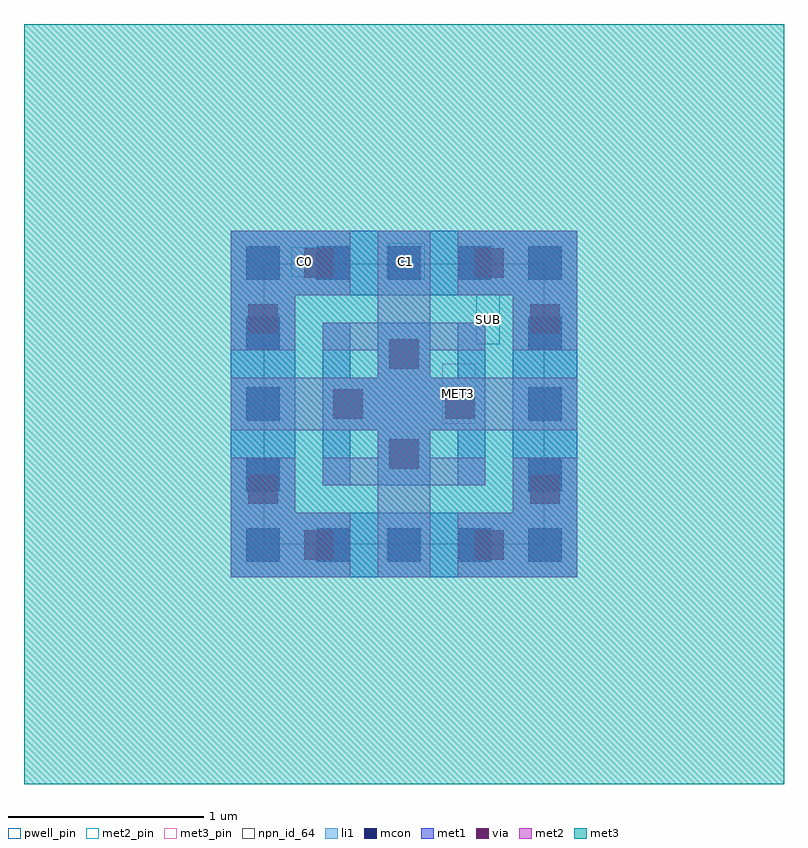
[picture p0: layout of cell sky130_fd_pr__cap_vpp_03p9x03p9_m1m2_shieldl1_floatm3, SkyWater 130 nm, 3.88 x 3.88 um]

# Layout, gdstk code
import gdstk
lib = gdstk.Library(unit=1e-6, precision=1e-09)
def R(c, l, rs):  # rectangles x0, y0, x1, y1
    for r in rs: c.add(gdstk.rectangle(r[:2], r[2:], *l))
def A(c, l, x, y, w, h, nx, ny, dx, dy):  # array of equal rectangles
    R(c, l, [(x+i*dx, y+j*dy, x+i*dx+w, y+j*dy+h) for i in range(nx) for j in range(ny)])
def P(c, l, *ps):  # polygons
    for p in ps: c.add(gdstk.Polygon(p, *l))
li1 = (67, 20)
mcon = (67, 44)
met1 = (68, 20)
via = (68, 44)
met2_pin = (69, 16)
met2 = (69, 20)
met3_pin = (70, 16)
met3 = (70, 20)
npn_id_64 = (82, 64)
pwell_pin = (122, 16)

sky130_fd_pr__cap_vpp_03 = lib.new_cell('sky130_fd_pr__cap_vpp_03p9x03p9_m1m2_shieldl1_floatm3')
R(sky130_fd_pr__cap_vpp_03, li1, [(0,0,1.77,1.77)])
A(sky130_fd_pr__cap_vpp_03, mcon, 0.08, 0.08, 0.17, 0.17, 5, 2, 0.36, 1.44)
R(sky130_fd_pr__cap_vpp_03, mcon, [(0.08,0.44,0.25,0.61), (1.52,0.44,1.69,0.61), (0.08,0.8,0.25,0.97), (0.08,0.8,0.25,0.97), (1.52,0.8,1.69,0.97), (1.52,0.8,1.69,0.97), (0.08,1.16,0.25,1.33), (0.08,1.16,0.25,1.33), (0.08,1.16,0.25,1.33), (1.52,1.16,1.69,1.33), (1.52,1.16,1.69,1.33), (1.52,1.16,1.69,1.33)])
R(sky130_fd_pr__cap_vpp_03, met1, [(0,0,1.77,0.33), (0,0.33,0.33,1.77), (1.44,0.33,1.77,1.77), (0.47,0.47,0.61,0.75), (0.75,0.47,1.02,1.3), (1.16,0.47,1.3,0.75), (0.47,0.75,1.3,1.02), (0.47,1.02,0.61,1.3), (1.16,1.02,1.3,1.3), (0,1.44,1.77,1.77)])
R(sky130_fd_pr__cap_vpp_03, via, [(0.375,0.09,0.525,0.24), (1.245,0.09,1.395,0.24), (0.09,0.375,0.24,0.525), (1.53,0.375,1.68,0.525), (0.81,0.555,0.96,0.705), (0.525,0.81,0.675,0.96), (1.095,0.81,1.245,0.96), (0.81,1.065,0.96,1.215), (0.09,1.245,0.24,1.395), (1.53,1.245,1.68,1.395), (0.375,1.53,0.525,1.68), (1.245,1.53,1.395,1.68)])
R(sky130_fd_pr__cap_vpp_03, met2_pin, [(0.8,1.52,0.99,1.705), (0.31,1.535,0.44,1.685)])
R(sky130_fd_pr__cap_vpp_03, met2, [(0.75,0,1.02,1.77), (0.47,0.47,0.75,0.61), (1.02,0.47,1.3,0.61), (0,0.75,1.77,1.02), (0.47,1.16,0.75,1.3), (1.02,1.16,1.3,1.3)])
P(sky130_fd_pr__cap_vpp_03, met2, [(0.33,1.16),(0.33,1.44),(0.61,1.44),(0.61,1.77),(0,1.77),(0,1.16)],
  [(1.77,0.61),(1.44,0.61),(1.44,0.33),(1.16,0.33),(1.16,0),(1.77,0)],
  [(1.16,1.44),(1.44,1.44),(1.44,1.16),(1.77,1.16),(1.77,1.77),(1.16,1.77)],
  [(0.61,0.33),(0.33,0.33),(0.33,0.61),(0,0.61),(0,0),(0.61,0)])
R(sky130_fd_pr__cap_vpp_03, met3_pin, [(1.08,0.785,1.25,1.09)])
R(sky130_fd_pr__cap_vpp_03, met3, [(-1.055,-1.055,2.825,2.825)])
R(sky130_fd_pr__cap_vpp_03, npn_id_64, [(0.17,0.17,1.6,1.6)])
R(sky130_fd_pr__cap_vpp_03, pwell_pin, [(1.255,1.19,1.375,1.445)])
sky130_fd_pr__cap_vpp_03.add(gdstk.Label('MET3', (1.165,0.94), layer=70, texttype=5))
sky130_fd_pr__cap_vpp_03.add(gdstk.Label('C1', (0.895,1.61), layer=69, texttype=5))
sky130_fd_pr__cap_vpp_03.add(gdstk.Label('C0', (0.375,1.61), layer=69, texttype=5))
sky130_fd_pr__cap_vpp_03.add(gdstk.Label('SUB', (1.315,1.315), layer=64, texttype=59))

lib.write_gds('sky130_fd_pr__cap_vpp_03p9x03p9_m1m2_shieldl1_floatm3.gds')
